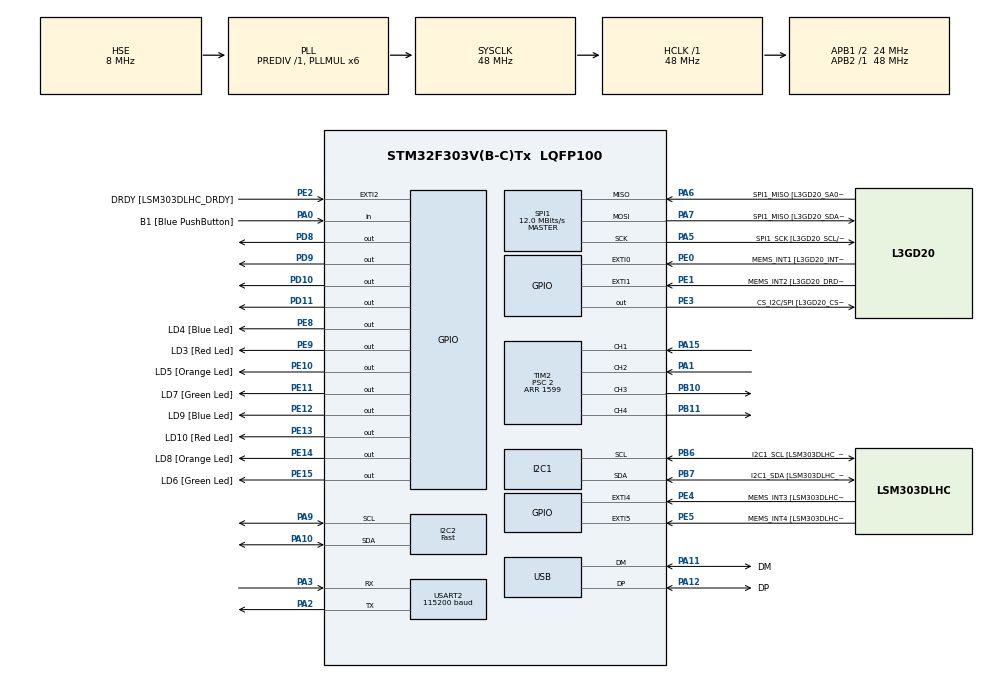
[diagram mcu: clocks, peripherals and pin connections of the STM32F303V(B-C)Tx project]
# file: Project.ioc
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I2C1.Timing=0x00201D2B
I2C1.Timing-I2C=0x2000090E
I2C2.I2C_Speed_Mode=I2C_Fast
I2C2.Timing=0x0010020A
Mcu.Family=STM32F3
Mcu.Name=STM32F303V(B-C)Tx
Mcu.Package=LQFP100
NVIC.I2C2_ER_IRQn=true\:0\:0\:false\:false\:true\:true\:true\:true
NVIC.I2C2_EV_IRQn=true\:0\:0\:false\:false\:true\:true\:true\:true
NVIC.PriorityGroup=NVIC_PRIORITYGROUP_0
NVIC.TIM6_DAC_IRQn=true\:0\:0\:false\:false\:true\:true\:true\:true
PA0.GPIO_Label=B1 [Blue PushButton]
PA0.Signal=GPIO_Input
PA1.Signal=S_TIM2_CH2
PA10.Mode=I2C
PA10.Signal=I2C2_SDA
PA11.GPIO_Label=DM
PA11.Mode=Device
PA11.Signal=USB_DM
PA12.GPIO_Label=DP
PA12.Mode=Device
PA12.Signal=USB_DP
PA13.GPIO_Label=SWDIO
PA13.Mode=Serial_Wire
PA13.Signal=SYS_JTMS-SWDIO
PA14.GPIO_Label=SWCLK
PA14.Mode=Serial_Wire
PA14.Signal=SYS_JTCK-SWCLK
PA15.Signal=S_TIM2_CH1_ETR
PA2.Mode=Asynchronous
PA2.Signal=USART2_TX
PA3.Mode=Asynchronous
PA3.Signal=USART2_RX
PA5.GPIO_Label=SPI1_SCK [L3GD20_SCL/SPC]
PA5.Mode=Full_Duplex_Master
PA5.Signal=SPI1_SCK
PA6.GPIO_Label=SPI1_MISO [L3GD20_SA0/SDO]
PA6.Mode=Full_Duplex_Master
PA6.Signal=SPI1_MISO
PA7.GPIO_Label=SPI1_MISO [L3GD20_SDA/SDI/SDO]
PA7.Mode=Full_Duplex_Master
PA7.Signal=SPI1_MOSI
PA9.Mode=I2C
PA9.Signal=I2C2_SCL
PB10.Signal=S_TIM2_CH3
PB11.Signal=S_TIM2_CH4
PB3.GPIO_Label=SWO
PB3.Signal=SYS_JTDO-TRACESWO
PB6.GPIO_Label=I2C1_SCL [LSM303DLHC_SCL]
PB6.GPIO_Pu=GPIO_PULLUP
PB6.Mode=I2C
PB6.Signal=I2C1_SCL
PB7.GPIO_Label=I2C1_SDA [LSM303DLHC_SDA]
PB7.GPIO_Pu=GPIO_PULLUP
PB7.Mode=I2C
PB7.Signal=I2C1_SDA
PC14-OSC32_IN.GPIO_Label=OSC32_IN
PC14-OSC32_IN.Signal=RCC_OSC32_IN
PC15-OSC32_OUT.GPIO_Label=OSC32_OUT
PC15-OSC32_OUT.Signal=RCC_OSC32_OUT
PD10.Signal=GPIO_Output
PD11.Signal=GPIO_Output
PD8.Signal=GPIO_Output
PD9.Signal=GPIO_Output
PE0.GPIO_Label=MEMS_INT1 [L3GD20_INT1]
PE0.GPIO_ModeDefaultEXTI=GPIO_MODE_EVT_RISING
PE0.Signal=GPXTI0
PE1.GPIO_Label=MEMS_INT2 [L3GD20_DRDY/INT2]
PE1.GPIO_ModeDefaultEXTI=GPIO_MODE_EVT_RISING
PE1.Signal=GPXTI1
PE10.GPIO_Label=LD5 [Orange Led]
PE10.Signal=GPIO_Output
PE11.GPIO_Label=LD7 [Green Led]
PE11.Signal=GPIO_Output
PE12.GPIO_Label=LD9 [Blue Led]
PE12.Signal=GPIO_Output
PE13.GPIO_Label=LD10 [Red Led]
PE13.Signal=GPIO_Output
PE14.GPIO_Label=LD8 [Orange Led]
PE14.Signal=GPIO_Output
PE15.GPIO_Label=LD6 [Green Led]
PE15.Signal=GPIO_Output
PE2.GPIO_Label=DRDY [LSM303DLHC_DRDY]
PE2.GPIO_ModeDefaultEXTI=GPIO_MODE_EVT_RISING
PE2.Signal=GPXTI2
PE3.GPIO_Label=CS_I2C/SPI [L3GD20_CS_I2C/SPI]
PE3.Signal=GPIO_Output
PE4.GPIO_Label=MEMS_INT3 [LSM303DLHC_INT1]
PE4.GPIO_ModeDefaultEXTI=GPIO_MODE_EVT_RISING
PE4.Signal=GPXTI4
PE5.GPIO_Label=MEMS_INT4 [LSM303DLHC_INT2]
PE5.GPIO_ModeDefaultEXTI=GPIO_MODE_EVT_RISING
PE5.Signal=GPXTI5
PE8.GPIO_Label=LD4 [Blue Led]
PE8.Signal=GPIO_Output
PE9.GPIO_Label=LD3 [Red Led]
PE9.Signal=GPIO_Output
PF0-OSC_IN.GPIO_Label=OSC_IN
PF0-OSC_IN.Mode=HSE-External-Clock-Source
PF0-OSC_IN.Signal=RCC_OSC_IN
PF1-OSC_OUT.GPIO_Label=OSC_OUT
PF1-OSC_OUT.Signal=RCC_OSC_OUT
ProjectManager.HeapSize=0x200
ProjectManager.StackSize=0x400
ProjectManager.TargetToolchain=CMake
RCC.AHBFreq_Value=48000000
RCC.APB1CLKDivider=RCC_HCLK_DIV2
RCC.APB1Freq_Value=24000000
RCC.APB1TimFreq_Value=48000000
RCC.APB2Freq_Value=48000000
RCC.APB2TimFreq_Value=48000000
RCC.CortexFreq_Value=48000000
RCC.HCLKFreq_Value=48000000
RCC.HSE_VALUE=8000000
RCC.HSI_VALUE=8000000
RCC.LSE_VALUE=32768
RCC.PLLMUL=RCC_PLL_MUL6
RCC.SYSCLKFreq_VALUE=48000000
RCC.SYSCLKSourceVirtual=RCC_SYSCLKSOURCE_PLLCLK
RCC.USBFreq_Value=48000000
SH.S_TIM2_CH1_ETR.0=TIM2_CH1,Input_Capture1_from_TI1
SH.S_TIM2_CH2.0=TIM2_CH2,Input_Capture2_from_TI2
SH.S_TIM2_CH3.0=TIM2_CH3,PWM Generation3 CH3
SH.S_TIM2_CH4.0=TIM2_CH4,PWM Generation4 CH4
SPI1.BaudRatePrescaler=SPI_BAUDRATEPRESCALER_4
SPI1.BaudRatePrescaler-Full_Duplex_Master=SPI_BAUDRATEPRESCALER_2
SPI1.CalculateBaudRate=12.0 MBits/s
SPI1.CalculateBaudRate-Full_Duplex_Master=24.0 MBits/s
SPI1.Direction=SPI_DIRECTION_2LINES
SPI1.Mode=SPI_MODE_MASTER
SPI1.Mode-Full_Duplex_Master=SPI_MODE_MASTER
SPI1.VirtualType=VM_MASTER
TIM2.AutoReloadPreload=TIM_AUTORELOAD_PRELOAD_ENABLE
TIM2.Channel-Input_Capture1_from_TI1=TIM_CHANNEL_1
TIM2.Channel-Input_Capture2_from_TI2=TIM_CHANNEL_2
TIM2.Channel-PWM\ Generation3\ CH3=TIM_CHANNEL_3
TIM2.Channel-PWM\ Generation4\ CH4=TIM_CHANNEL_4
TIM2.Period=1599
TIM2.Prescaler=2
TIM6.AutoReloadPreload=TIM_AUTORELOAD_PRELOAD_ENABLE
TIM6.Period=999
TIM6.Prescaler=239
USART2.BaudRate=115200
USART2.VirtualMode-Asynchronous=VM_ASYNC
VP_TIM6_VS_ClockSourceINT.Mode=Enable_Timer
board=STM32F3DISCOVERY

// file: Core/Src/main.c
/* USER CODE BEGIN Header */
/**
  ******************************************************************************
  * @file           : main.c
  * @brief          : Main program body
  ******************************************************************************
  * @attention
  *
  * Copyright (c) 2026 STMicroelectronics.
  * All rights reserved.
  *
  * This software is licensed under terms that can be found in the LICENSE file
  * in the root directory of this software component.
  * If no LICENSE file comes with this software, it is provided AS-IS.
  *
  ******************************************************************************
  */
/* USER CODE END Header */
#include "main.h"

/* USER CODE BEGIN Includes */
#include "mpu6050.h"
#include "complementary.h"
#include "pid.h"
#include "motor.h"
#include "encoder.h"
#include <string.h>
#include <stdio.h>
#include "stdarg.h"
/* USER CODE END Includes */

/* USER CODE BEGIN PD */
#define CONTROL_LOOP_HZ 200.0f
#define CONTROL_DT (1.0f / CONTROL_LOOP_HZ)
#define TELEMETRY_DIVIDER 10U
/* USER CODE END PD */

I2C_HandleTypeDef hi2c1;
I2C_HandleTypeDef hi2c2;

SPI_HandleTypeDef hspi1;

TIM_HandleTypeDef htim2;
TIM_HandleTypeDef htim6;

UART_HandleTypeDef huart2;

PCD_HandleTypeDef hpcd_USB_FS;

/* USER CODE BEGIN PV */
volatile uint8_t telemetry_flag = 1;
volatile float g_angle_deg = 0.0f;
volatile float g_gyro_dps = 0.0f;
volatile int16_t g_motor_cmd = 0;
volatile uint32_t g_control_ticks = 0U;
volatile uint8_t g_uart_busy = 0U;
/* USER CODE END PV */

void SystemClock_Config(void);
static void MX_GPIO_Init(void);
static void MX_I2C1_Init(void);
static void MX_I2C2_Init(void);
static void MX_SPI1_Init(void);
static void MX_TIM2_Init(void);
static void MX_TIM6_Init(void);
static void MX_USART2_UART_Init(void);
static void MX_USB_PCD_Init(void);
/* USER CODE BEGIN PFP */
static void start_robot_modules(void);
static void send_telemetry_nonblocking(void);
/* USER CODE END PFP */

/* USER CODE BEGIN 0 */
  int myPrintf(const char* fmt, ...)
  {
    char buffer[512];

    // Step 2: Initialize the variadic argument list.
    va_list args;
    va_start(args, fmt);

    // Step 3: Format the final string using vsnprintf.
    // vsnprintf is "v" (takes a va_list) and "n" (prevents buffer overflow).
    int length = vsnprintf(buffer, sizeof(buffer), fmt, args);

    // Clean up the variadic argument list
    va_end(args);

    // Step 4: Transmit the string over UART using HAL_UART_Transmit.
    // We cast buffer to (uint8_t*) as required by the HAL library.
    if (length > 0) {
        HAL_UART_Transmit(&huart2, (uint8_t*)buffer, (uint16_t)length, HAL_MAX_DELAY);
        return 1;
    }
    return 0;
  };

static void start_robot_modules(void) {
    pid_gains_t gains = {
        .kp = 55.0f,
        .ki = 1.2f,
        .kd = 2.8f,
        .integral_limit = 60.0f,
        .output_limit = (float)MOTOR_PWM_MAX,
    };

    if (mpu6050_init(&hi2c2) != HAL_OK) {
        Error_Handler();
    }

    if (mpu6050_calibrate(&hi2c2, 300U) != HAL_OK) {
        Error_Handler();
    }

    if (angle_init(&hi2c2) != HAL_OK) {
        Error_Handler();
    }

    pid_init(gains);
    encoder_init(&htim2);
    motor_init(&htim2);

    if (HAL_TIM_Base_Start_IT(&htim6) != HAL_OK) {
        Error_Handler();
    }
}

static void send_telemetry_nonblocking(void) {
    encoder_data_t left;
    encoder_data_t right;

    if (g_uart_busy) {
        return;
    }

    left = encoder_get_left_data();
    right = encoder_get_right_data();
    g_uart_busy = 1U;
    if (myPrintf("Tilt: %.3f, AngularRate %.3f, Motor Speed: %d, Left Motor Encoder: %.2f, Right Motor Encoder: %.2f\r\n", g_angle_deg, g_gyro_dps,
                   g_motor_cmd, left.frequency_hz, right.frequency_hz)) {
        g_uart_busy = 0U;
    }
}

void HAL_UART_TxCpltCallback(UART_HandleTypeDef *huart) {
    if (huart->Instance == USART2) {
        g_uart_busy = 0U;
    }
}

void HAL_TIM_IC_CaptureCallback(TIM_HandleTypeDef *htim) { encoder_handle_ic_callback(htim); }

void HAL_TIM_PeriodElapsedCallback(TIM_HandleTypeDef *htim) {
    float command;

    if (htim->Instance != TIM6) {
        return;
    }

    if (angle_update(CONTROL_DT) != HAL_OK) {
        return;
    }

    g_angle_deg = angle_get_deg();
    g_gyro_dps = angle_get_gyro_rate_dps();
    command = pid_compute(0.0f, g_angle_deg, CONTROL_DT);
    g_motor_cmd = (int16_t)command;

    motor_set_speed(MOTOR_LEFT, g_motor_cmd);
    motor_set_speed(MOTOR_RIGHT, g_motor_cmd);

    g_control_ticks++;
    if ((g_control_ticks % TELEMETRY_DIVIDER) == 0U) {
        telemetry_flag = 1U;
    }
}

/* USER CODE END 0 */

int main(void)
{

  /* MCU Configuration--------------------------------------------------------*/

  /* Reset of all peripherals, Initializes the Flash interface and the Systick. */
  HAL_Init();

  /* Configure the system clock */
  SystemClock_Config();

  /* Initialize all configured peripherals */
  MX_GPIO_Init();
  MX_I2C1_Init();
  MX_I2C2_Init();
  MX_SPI1_Init();
  MX_TIM2_Init();
  MX_TIM6_Init();
  MX_USART2_UART_Init();
  MX_USB_PCD_Init();
  /* USER CODE BEGIN 2 */
  start_robot_modules();

  /* USER CODE END 2 */

  /* Infinite loop */
  /* USER CODE BEGIN WHILE */
  while (1)
  {
    HAL_Delay(100);
    if (telemetry_flag) {
      telemetry_flag = 0U;
      send_telemetry_nonblocking();
    }
    /* USER CODE END WHILE */
  }
}

void SystemClock_Config(void)
{
  RCC_OscInitTypeDef RCC_OscInitStruct = {0};
  RCC_ClkInitTypeDef RCC_ClkInitStruct = {0};
  RCC_PeriphCLKInitTypeDef PeriphClkInit = {0};

  /** Initializes the RCC Oscillators according to the specified parameters
  * in the RCC_OscInitTypeDef structure.
  */
  RCC_OscInitStruct.OscillatorType = RCC_OSCILLATORTYPE_HSI|RCC_OSCILLATORTYPE_HSE;
  RCC_OscInitStruct.HSEState = RCC_HSE_BYPASS;
  RCC_OscInitStruct.HSEPredivValue = RCC_HSE_PREDIV_DIV1;
  RCC_OscInitStruct.HSIState = RCC_HSI_ON;
  RCC_OscInitStruct.HSICalibrationValue = RCC_HSICALIBRATION_DEFAULT;
  RCC_OscInitStruct.PLL.PLLState = RCC_PLL_ON;
  RCC_OscInitStruct.PLL.PLLSource = RCC_PLLSOURCE_HSE;
  RCC_OscInitStruct.PLL.PLLMUL = RCC_PLL_MUL6;
  if (HAL_RCC_OscConfig(&RCC_OscInitStruct) != HAL_OK)
  {
    Error_Handler();
  }

  /** Initializes the CPU, AHB and APB buses clocks
  */
  RCC_ClkInitStruct.ClockType = RCC_CLOCKTYPE_HCLK|RCC_CLOCKTYPE_SYSCLK
                              |RCC_CLOCKTYPE_PCLK1|RCC_CLOCKTYPE_PCLK2;
  RCC_ClkInitStruct.SYSCLKSource = RCC_SYSCLKSOURCE_PLLCLK;
  RCC_ClkInitStruct.AHBCLKDivider = RCC_SYSCLK_DIV1;
  RCC_ClkInitStruct.APB1CLKDivider = RCC_HCLK_DIV2;
  RCC_ClkInitStruct.APB2CLKDivider = RCC_HCLK_DIV1;

  if (HAL_RCC_ClockConfig(&RCC_ClkInitStruct, FLASH_LATENCY_1) != HAL_OK)
  {
    Error_Handler();
  }
  PeriphClkInit.PeriphClockSelection = RCC_PERIPHCLK_USB|RCC_PERIPHCLK_USART2
                              |RCC_PERIPHCLK_I2C1|RCC_PERIPHCLK_I2C2;
  PeriphClkInit.Usart2ClockSelection = RCC_USART2CLKSOURCE_PCLK1;
  PeriphClkInit.I2c1ClockSelection = RCC_I2C1CLKSOURCE_HSI;
  PeriphClkInit.I2c2ClockSelection = RCC_I2C2CLKSOURCE_HSI;
  PeriphClkInit.USBClockSelection = RCC_USBCLKSOURCE_PLL;
  if (HAL_RCCEx_PeriphCLKConfig(&PeriphClkInit) != HAL_OK)
  {
    Error_Handler();
  }
}

static void MX_I2C1_Init(void)
{

  hi2c1.Instance = I2C1;
  hi2c1.Init.Timing = 0x00201D2B;
  hi2c1.Init.OwnAddress1 = 0;
  hi2c1.Init.AddressingMode = I2C_ADDRESSINGMODE_7BIT;
  hi2c1.Init.DualAddressMode = I2C_DUALADDRESS_DISABLE;
  hi2c1.Init.OwnAddress2 = 0;
  hi2c1.Init.OwnAddress2Masks = I2C_OA2_NOMASK;
  hi2c1.Init.GeneralCallMode = I2C_GENERALCALL_DISABLE;
  hi2c1.Init.NoStretchMode = I2C_NOSTRETCH_DISABLE;
  if (HAL_I2C_Init(&hi2c1) != HAL_OK)
  {
    Error_Handler();
  }

  /** Configure Analogue filter
  */
  if (HAL_I2CEx_ConfigAnalogFilter(&hi2c1, I2C_ANALOGFILTER_ENABLE) != HAL_OK)
  {
    Error_Handler();
  }

  /** Configure Digital filter
  */
  if (HAL_I2CEx_ConfigDigitalFilter(&hi2c1, 0) != HAL_OK)
  {
    Error_Handler();
  }

}

static void MX_I2C2_Init(void)
{

  hi2c2.Instance = I2C2;
  hi2c2.Init.Timing = 0x0010020A;
  hi2c2.Init.OwnAddress1 = 0;
  hi2c2.Init.AddressingMode = I2C_ADDRESSINGMODE_7BIT;
  hi2c2.Init.DualAddressMode = I2C_DUALADDRESS_DISABLE;
  hi2c2.Init.OwnAddress2 = 0;
  hi2c2.Init.OwnAddress2Masks = I2C_OA2_NOMASK;
  hi2c2.Init.GeneralCallMode = I2C_GENERALCALL_DISABLE;
  hi2c2.Init.NoStretchMode = I2C_NOSTRETCH_DISABLE;
  if (HAL_I2C_Init(&hi2c2) != HAL_OK)
  {
    Error_Handler();
  }

  /** Configure Analogue filter
  */
  if (HAL_I2CEx_ConfigAnalogFilter(&hi2c2, I2C_ANALOGFILTER_ENABLE) != HAL_OK)
  {
    Error_Handler();
  }

  /** Configure Digital filter
  */
  if (HAL_I2CEx_ConfigDigitalFilter(&hi2c2, 0) != HAL_OK)
  {
    Error_Handler();
  }

}

static void MX_SPI1_Init(void)
{

  /* SPI1 parameter configuration*/
  hspi1.Instance = SPI1;
  hspi1.Init.Mode = SPI_MODE_MASTER;
  hspi1.Init.Direction = SPI_DIRECTION_2LINES;
  hspi1.Init.DataSize = SPI_DATASIZE_4BIT;
  hspi1.Init.CLKPolarity = SPI_POLARITY_LOW;
  hspi1.Init.CLKPhase = SPI_PHASE_1EDGE;
  hspi1.Init.NSS = SPI_NSS_SOFT;
  hspi1.Init.BaudRatePrescaler = SPI_BAUDRATEPRESCALER_4;
  hspi1.Init.FirstBit = SPI_FIRSTBIT_MSB;
  hspi1.Init.TIMode = SPI_TIMODE_DISABLE;
  hspi1.Init.CRCCalculation = SPI_CRCCALCULATION_DISABLE;
  hspi1.Init.CRCPolynomial = 7;
  hspi1.Init.CRCLength = SPI_CRC_LENGTH_DATASIZE;
  hspi1.Init.NSSPMode = SPI_NSS_PULSE_ENABLE;
  if (HAL_SPI_Init(&hspi1) != HAL_OK)
  {
    Error_Handler();
  }

}

static void MX_TIM2_Init(void)
{

  TIM_MasterConfigTypeDef sMasterConfig = {0};
  TIM_IC_InitTypeDef sConfigIC = {0};
  TIM_OC_InitTypeDef sConfigOC = {0};

  htim2.Instance = TIM2;
  htim2.Init.Prescaler = 2;
  htim2.Init.CounterMode = TIM_COUNTERMODE_UP;
  htim2.Init.Period = 1599;
  htim2.Init.ClockDivision = TIM_CLOCKDIVISION_DIV1;
  htim2.Init.AutoReloadPreload = TIM_AUTORELOAD_PRELOAD_ENABLE;
  if (HAL_TIM_IC_Init(&htim2) != HAL_OK)
  {
    Error_Handler();
  }
  if (HAL_TIM_PWM_Init(&htim2) != HAL_OK)
  {
    Error_Handler();
  }
  sMasterConfig.MasterOutputTrigger = TIM_TRGO_RESET;
  sMasterConfig.MasterSlaveMode = TIM_MASTERSLAVEMODE_DISABLE;
  if (HAL_TIMEx_MasterConfigSynchronization(&htim2, &sMasterConfig) != HAL_OK)
  {
    Error_Handler();
  }
  sConfigIC.ICPolarity = TIM_INPUTCHANNELPOLARITY_RISING;
  sConfigIC.ICSelection = TIM_ICSELECTION_DIRECTTI;
  sConfigIC.ICPrescaler = TIM_ICPSC_DIV1;
  sConfigIC.ICFilter = 0;
  if (HAL_TIM_IC_ConfigChannel(&htim2, &sConfigIC, TIM_CHANNEL_1) != HAL_OK)
  {
    Error_Handler();
  }
  if (HAL_TIM_IC_ConfigChannel(&htim2, &sConfigIC, TIM_CHANNEL_2) != HAL_OK)
  {
    Error_Handler();
  }
  sConfigOC.OCMode = TIM_OCMODE_PWM1;
  sConfigOC.Pulse = 0;
  sConfigOC.OCPolarity = TIM_OCPOLARITY_HIGH;
  sConfigOC.OCFastMode = TIM_OCFAST_DISABLE;
  if (HAL_TIM_PWM_ConfigChannel(&htim2, &sConfigOC, TIM_CHANNEL_3) != HAL_OK)
  {
    Error_Handler();
  }
  if (HAL_TIM_PWM_ConfigChannel(&htim2, &sConfigOC, TIM_CHANNEL_4) != HAL_OK)
  {
    Error_Handler();
  }
  HAL_TIM_MspPostInit(&htim2);

}

static void MX_TIM6_Init(void)
{

  TIM_MasterConfigTypeDef sMasterConfig = {0};

  htim6.Instance = TIM6;
  htim6.Init.Prescaler = 239;
  htim6.Init.CounterMode = TIM_COUNTERMODE_UP;
  htim6.Init.Period = 999;
  htim6.Init.AutoReloadPreload = TIM_AUTORELOAD_PRELOAD_ENABLE;
  if (HAL_TIM_Base_Init(&htim6) != HAL_OK)
  {
    Error_Handler();
  }
  sMasterConfig.MasterOutputTrigger = TIM_TRGO_RESET;
  sMasterConfig.MasterSlaveMode = TIM_MASTERSLAVEMODE_DISABLE;
  if (HAL_TIMEx_MasterConfigSynchronization(&htim6, &sMasterConfig) != HAL_OK)
  {
    Error_Handler();
  }

}

static void MX_USART2_UART_Init(void)
{

  huart2.Instance = USART2;
  huart2.Init.BaudRate = 115200;
  huart2.Init.WordLength = UART_WORDLENGTH_8B;
  huart2.Init.StopBits = UART_STOPBITS_1;
  huart2.Init.Parity = UART_PARITY_NONE;
  huart2.Init.Mode = UART_MODE_TX_RX;
  huart2.Init.HwFlowCtl = UART_HWCONTROL_NONE;
  huart2.Init.OverSampling = UART_OVERSAMPLING_16;
  huart2.Init.OneBitSampling = UART_ONE_BIT_SAMPLE_DISABLE;
  huart2.AdvancedInit.AdvFeatureInit = UART_ADVFEATURE_NO_INIT;
  if (HAL_UART_Init(&huart2) != HAL_OK)
  {
    Error_Handler();
  }

}

static void MX_USB_PCD_Init(void)
{

  hpcd_USB_FS.Instance = USB;
  hpcd_USB_FS.Init.dev_endpoints = 8;
  hpcd_USB_FS.Init.speed = PCD_SPEED_FULL;
  hpcd_USB_FS.Init.phy_itface = PCD_PHY_EMBEDDED;
  hpcd_USB_FS.Init.low_power_enable = DISABLE;
  hpcd_USB_FS.Init.battery_charging_enable = DISABLE;
  if (HAL_PCD_Init(&hpcd_USB_FS) != HAL_OK)
  {
    Error_Handler();
  }

}

static void MX_GPIO_Init(void)
{
  GPIO_InitTypeDef GPIO_InitStruct = {0};

  /* GPIO Ports Clock Enable */
  __HAL_RCC_GPIOE_CLK_ENABLE();
  __HAL_RCC_GPIOC_CLK_ENABLE();
  __HAL_RCC_GPIOF_CLK_ENABLE();
  __HAL_RCC_GPIOA_CLK_ENABLE();
  __HAL_RCC_GPIOB_CLK_ENABLE();
  __HAL_RCC_GPIOD_CLK_ENABLE();

  /*Configure GPIO pin Output Level */
  HAL_GPIO_WritePin(GPIOE, CS_I2C_SPI_Pin|LD4_Pin|LD3_Pin|LD5_Pin
                          |LD7_Pin|LD9_Pin|LD10_Pin|LD8_Pin
                          |LD6_Pin, GPIO_PIN_RESET);

  /*Configure GPIO pin Output Level */
  HAL_GPIO_WritePin(GPIOD, GPIO_PIN_8|GPIO_PIN_9|GPIO_PIN_10|GPIO_PIN_11, GPIO_PIN_RESET);

  /*Configure GPIO pins : DRDY_Pin MEMS_INT3_Pin MEMS_INT4_Pin MEMS_INT1_Pin
                           MEMS_INT2_Pin */
  GPIO_InitStruct.Pin = DRDY_Pin|MEMS_INT3_Pin|MEMS_INT4_Pin|MEMS_INT1_Pin
                          |MEMS_INT2_Pin;
  GPIO_InitStruct.Mode = GPIO_MODE_EVT_RISING;
  GPIO_InitStruct.Pull = GPIO_NOPULL;
  HAL_GPIO_Init(GPIOE, &GPIO_InitStruct);

  /*Configure GPIO pins : CS_I2C_SPI_Pin LD4_Pin LD3_Pin LD5_Pin
                           LD7_Pin LD9_Pin LD10_Pin LD8_Pin
                           LD6_Pin */
  GPIO_InitStruct.Pin = CS_I2C_SPI_Pin|LD4_Pin|LD3_Pin|LD5_Pin
                          |LD7_Pin|LD9_Pin|LD10_Pin|LD8_Pin
                          |LD6_Pin;
  GPIO_InitStruct.Mode = GPIO_MODE_OUTPUT_PP;
  GPIO_InitStruct.Pull = GPIO_NOPULL;
  GPIO_InitStruct.Speed = GPIO_SPEED_FREQ_LOW;
  HAL_GPIO_Init(GPIOE, &GPIO_InitStruct);

  /*Configure GPIO pin : B1_Pin */
  GPIO_InitStruct.Pin = B1_Pin;
  GPIO_InitStruct.Mode = GPIO_MODE_INPUT;
  GPIO_InitStruct.Pull = GPIO_NOPULL;
  HAL_GPIO_Init(B1_GPIO_Port, &GPIO_InitStruct);

  /*Configure GPIO pins : PD8 PD9 PD10 PD11 */
  GPIO_InitStruct.Pin = GPIO_PIN_8|GPIO_PIN_9|GPIO_PIN_10|GPIO_PIN_11;
  GPIO_InitStruct.Mode = GPIO_MODE_OUTPUT_PP;
  GPIO_InitStruct.Pull = GPIO_NOPULL;
  GPIO_InitStruct.Speed = GPIO_SPEED_FREQ_LOW;
  HAL_GPIO_Init(GPIOD, &GPIO_InitStruct);

}

void Error_Handler(void)
{
  __disable_irq();
  while (1)
  {
  }
}
